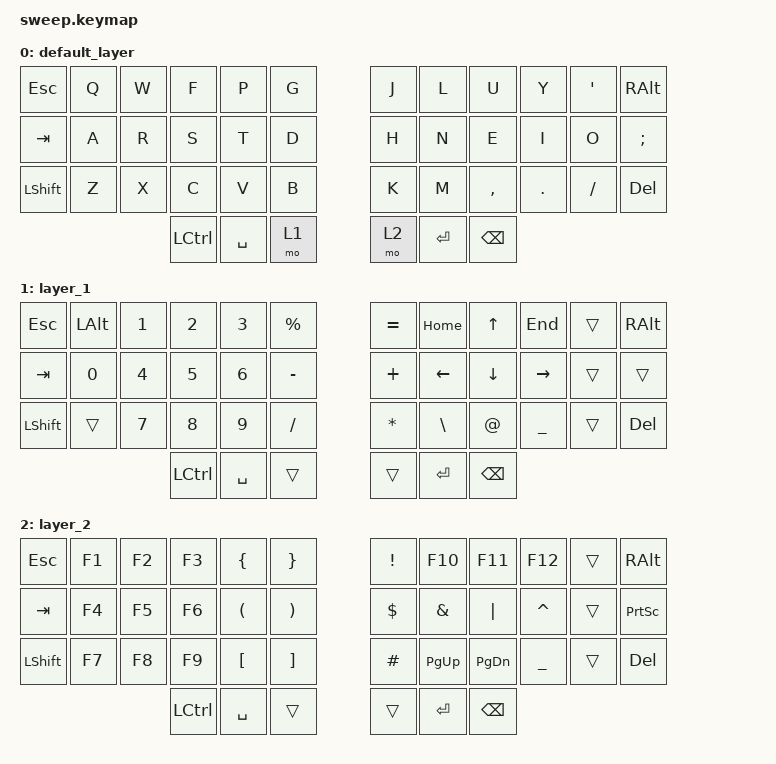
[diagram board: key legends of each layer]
// #include "../../../corne.keymap"
/*
 * Copyright (c) 2020 The ZMK Contributors
 *
 * SPDX-License-Identifier: MIT
 */

#include <behaviors.dtsi>
#include <dt-bindings/zmk/keys.h>

/ {
    keymap {
        compatible = "zmk,keymap";

        default_layer {
            // -----------------------------------------------------------------------------------------
            // |  TAB |  Q  |  W  |  E  |  R  |  T  |   |  Y  |  U   |  I  |  O  |  P  | BKSP |
            // | CTRL |  A  |  S  |  D  |  F  |  G  |   |  H  |  J   |  K  |  L  |  ;  |  '   |
            // | SHFT |  Z  |  X  |  C  |  V  |  B  |   |  N  |  M   |  ,  |  .  |  /  | ESC  |
            //                    | GUI | LWR | SPC |   | ENT | RSE  | ALT |

            bindings = <
&kp ESC    &kp Q  &kp W  &kp F             &kp P      &kp G  &kp J  &kp L      &kp U          &kp Y    &kp APOS   &kp RIGHT_ALT
&kp TAB    &kp A  &kp R  &kp S             &kp T      &kp D  &kp H  &kp N      &kp E          &kp I    &kp O      &kp SEMI
&kp LSHFT  &kp Z  &kp X  &kp C             &kp V      &kp B  &kp K  &kp M      &kp COMMA      &kp DOT  &kp SLASH  &kp DELETE
                         &kp LEFT_CONTROL  &kp SPACE  &mo 1  &mo 2  &kp ENTER  &kp BACKSPACE
            >;
        };

        layer_1 {
            bindings = <
&kp ESC    &kp LEFT_ALT  &kp N1        &kp NUMBER_2      &kp NUMBER_3  &kp PERCENT  &kp EQUAL  &kp HOME        &kp UP_ARROW    &kp END          &trans  &kp RIGHT_ALT
&kp TAB    &kp N0        &kp NUMBER_4  &kp N5            &kp NUMBER_6  &kp MINUS    &kp PLUS   &kp LEFT_ARROW  &kp DOWN_ARROW  &kp RIGHT_ARROW  &trans  &trans
&kp LSHFT  &trans        &kp N7        &kp N8            &kp N9        &kp SLASH    &kp ASTRK  &kp BACKSLASH   &kp AT_SIGN     &kp UNDERSCORE   &trans  &kp DELETE
                                       &kp LEFT_CONTROL  &kp SPACE     &trans       &trans     &kp ENTER       &kp BACKSPACE
            >;
        };

        layer_2 {
            bindings = <
&kp ESC    &kp F1  &kp F2  &kp F3            &kp LEFT_BRACE        &kp RIGHT_BRACE        &kp EXCLAMATION  &kp F10        &kp F11        &kp F12         &trans  &kp RIGHT_ALT
&kp TAB    &kp F4  &kp F5  &kp F6            &kp LEFT_PARENTHESIS  &kp RIGHT_PARENTHESIS  &kp DOLLAR       &kp AMPERSAND  &kp PIPE       &kp CARET       &trans  &kp PRINTSCREEN
&kp LSHFT  &kp F7  &kp F8  &kp F9            &kp LEFT_BRACKET      &kp RIGHT_BRACKET      &kp HASH         &kp PG_UP      &kp PAGE_DOWN  &kp UNDERSCORE  &trans  &kp DELETE
                           &kp LEFT_CONTROL  &kp SPACE             &trans                 &trans           &kp ENTER      &kp BACKSPACE
            >;
        };
    };
};
